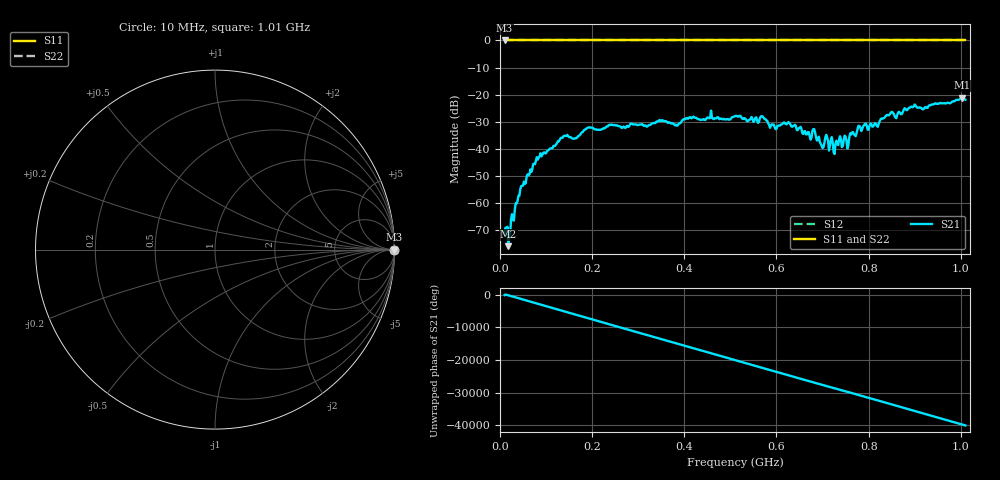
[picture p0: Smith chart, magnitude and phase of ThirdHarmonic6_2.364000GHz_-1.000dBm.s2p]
! 8/17/2025 3:39:15 AM
! C:\ANRITSUVNA\TEMP\TEMP.S2P
! CHANNEL.1
! TR.MEASUREMENT
! RAW.DATA
! RF.CORRECTION.OFF
! AVERAGING.OFF
! IF.BANDWIDTH: 5KHZ
! SWEEPTYPE:  FREQ.SWEEP(Linear)
! Reference Plane Port Info
! PORT:  PORT1  PORT2
! DISTANCE:  0  m  0  m
! TIME:  0  s  0  s
! PHASE.OFFSET:  0  deg.  0  deg.
! LOSS:  0  dB  0  dB
! REF.LOSS:  0  dB  0  dB
! REF.FREQ:  0  Hz  0  Hz
! Power Info
! POWER:  -20  dBm  -20  dBm
! EFF.POWER:  -20  dBm  -20  dBm
! SOURCE.ATTEN:  0  dB  0  dB
! TEST.ATTEN:  0  dB  0  dB
# GHZ S RI R 50.0
! FREQ.GHZ  S11RE  S11IM  S21RE  S21IM  S12RE  S12IM  S22RE  S22IM
!; PortSelection: Port_12
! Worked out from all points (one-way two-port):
!   501 points, 10 MHz to 1.01 GHz, reference 50 ohm
!   highest |S21| = -21.09 dB at 1.002 GHz (marker M1); lowest = -76.0 dB at 18 MHz (marker M2)
!   lowest |S11| = 0.0 dB at 10 MHz (marker M3)
!   |S11| at or under -10 dB: nowhere
!   |S22| runs from 0.0 to 0.0 dB; largest |S21 - S12| = 1.1
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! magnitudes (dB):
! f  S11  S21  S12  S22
! 10 MHz  0.0  -70.9  0.0  0.0
! 18 MHz  0.0  -76.0  0.0  0.0
! 48 MHz  0.0  -53.7  0.0  0.0
! 84 MHz  0.0  -43.3  0.0  0.0
! 136 MHz  0.0  -35.9  0.0  0.0
! 178 MHz  0.0  -33.9  0.0  0.0
! 344 MHz  0.0  -29.8  0.0  0.0
! 382 MHz  0.0  -31.1  0.0  0.0
! 416 MHz  0.0  -28.8  0.0  0.0
! 510 MHz  0.0  -28.0  0.0  0.0
! 570 MHz  0.0  -28.1  0.0  0.0
! 596 MHz  0.0  -32.0  0.0  0.0
! 626 MHz  0.0  -30.1  0.0  0.0
! 678 MHz  0.0  -33.4  0.0  0.0
! 698 MHz  0.0  -38.9  0.0  0.0
! 708 MHz  0.0  -34.9  0.0  0.0
! 728 MHz  0.0  -38.3  0.0  0.0
! 778 MHz  0.0  -31.5  0.0  0.0
! 820 MHz  0.0  -31.9  0.0  0.0
! 844 MHz  0.0  -27.6  0.0  0.0
! 1.002 GHz  0.0  -21.1  0.0  0.0
! 1.01 GHz  0.0  -21.9  0.0  0.0
